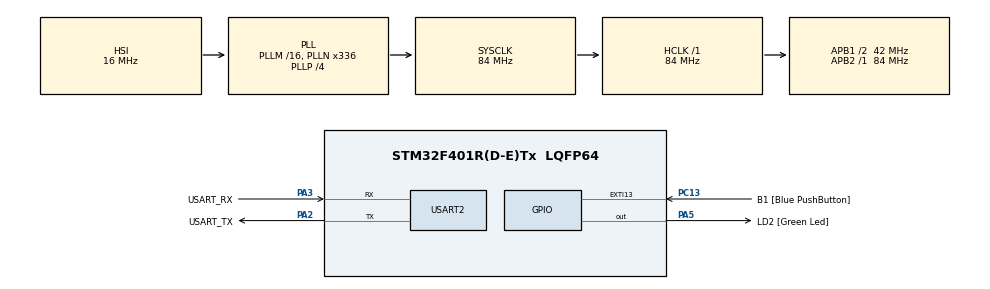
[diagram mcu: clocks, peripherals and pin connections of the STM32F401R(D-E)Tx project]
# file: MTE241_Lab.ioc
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Mcu.Family=STM32F4
Mcu.Name=STM32F401R(D-E)Tx
Mcu.Package=LQFP64
NVIC.PriorityGroup=NVIC_PRIORITYGROUP_0
PA13.GPIO_Label=TMS
PA13.Mode=Trace_Asynchronous_SW
PA13.Signal=SYS_JTMS-SWDIO
PA14.GPIO_Label=TCK
PA14.Mode=Trace_Asynchronous_SW
PA14.Signal=SYS_JTCK-SWCLK
PA2.GPIO_Label=USART_TX
PA2.GPIO_Mode=GPIO_MODE_AF_PP
PA2.GPIO_PuPd=GPIO_NOPULL
PA2.GPIO_Speed=GPIO_SPEED_FREQ_LOW
PA2.Mode=Asynchronous
PA2.Signal=USART2_TX
PA3.GPIO_Label=USART_RX
PA3.GPIO_Mode=GPIO_MODE_AF_PP
PA3.GPIO_PuPd=GPIO_NOPULL
PA3.GPIO_Speed=GPIO_SPEED_FREQ_LOW
PA3.Mode=Asynchronous
PA3.Signal=USART2_RX
PA5.GPIO_Label=LD2 [Green Led]
PA5.GPIO_Mode=GPIO_MODE_OUTPUT_PP
PA5.GPIO_PuPd=GPIO_NOPULL
PA5.GPIO_Speed=GPIO_SPEED_FREQ_LOW
PA5.Signal=GPIO_Output
PB3.GPIO_Label=SWO
PB3.Mode=Trace_Asynchronous_SW
PB3.Signal=SYS_JTDO-SWO
PC13-ANTI_TAMP.GPIO_Label=B1 [Blue PushButton]
PC13-ANTI_TAMP.GPIO_ModeDefaultEXTI=GPIO_MODE_IT_FALLING
PC13-ANTI_TAMP.GPIO_PuPd=GPIO_NOPULL
PC13-ANTI_TAMP.Signal=GPXTI13
PC14-OSC32_IN.Mode=LSE-External-Oscillator
PC14-OSC32_IN.Signal=RCC_OSC32_IN
PC15-OSC32_OUT.Mode=LSE-External-Oscillator
PC15-OSC32_OUT.Signal=RCC_OSC32_OUT
PH0\ -\ OSC_IN.Mode=HSE-External-Clock-Source
PH0\ -\ OSC_IN.Signal=RCC_OSC_IN
PH1\ -\ OSC_OUT.Mode=HSE-External-Clock-Source
PH1\ -\ OSC_OUT.Signal=RCC_OSC_OUT
ProjectManager.HeapSize=0x200
ProjectManager.StackSize=0x400
ProjectManager.TargetToolchain=STM32CubeIDE
RCC.48MHZClocksFreq_Value=48000000
RCC.AHBFreq_Value=84000000
RCC.APB1CLKDivider=RCC_HCLK_DIV2
RCC.APB1Freq_Value=42000000
RCC.APB1TimFreq_Value=84000000
RCC.APB2Freq_Value=84000000
RCC.APB2TimFreq_Value=84000000
RCC.CortexFreq_Value=84000000
RCC.HCLKFreq_Value=84000000
RCC.HSE_VALUE=8000000
RCC.HSI_VALUE=16000000
RCC.PLLN=336
RCC.PLLP=RCC_PLLP_DIV4
RCC.PLLQ=7
RCC.SYSCLKFreq_VALUE=84000000
RCC.SYSCLKSource=RCC_SYSCLKSOURCE_PLLCLK
RCC.VCOOutputFreq_Value=336000000
USART2.VirtualMode=VM_ASYNC
board=NUCLEO-F401RE

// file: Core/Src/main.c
/* USER CODE BEGIN Header */
/**
  ******************************************************************************
  * @file           : main.c
  * @brief          : Main program body
  ******************************************************************************
  * @attention
  *
  * Copyright (c) 2024 STMicroelectronics.
  * All rights reserved.
  *
  * This software is licensed under terms that can be found in the LICENSE file
  * in the root directory of this software component.
  * If no LICENSE file comes with this software, it is provided AS-IS.
  *
  ******************************************************************************
  */
/* USER CODE END Header */
#include "main.h"

/* USER CODE BEGIN Includes */
#include <stdio.h>
#include "kernel.h"
/* USER CODE END Includes */

/* USER CODE BEGIN PTD */
typedef struct {
  uint32_t num1;
  uint32_t num2;
} my_struct;
/* USER CODE END PTD */

UART_HandleTypeDef huart2;

void SystemClock_Config(void);
static void MX_GPIO_Init(void);
static void MX_USART2_UART_Init(void);

/* USER CODE BEGIN 0 */
void print1(void *args)
{
  while(true)
  {
    printf("Hello World!\r\n");
    osYield();
  }
}

void print2(void *args)
{
  my_struct data = *(my_struct*)args;
  while(true)
  {
    printf("num1 is %ld    num2 is %ld\r\n", data.num1, data.num2);
    HAL_Delay(500);
  }
}
/* USER CODE END 0 */

int main(void)
{

  /* USER CODE BEGIN 1 */
  my_struct args = {3, 4};
  /* USER CODE END 1 */

  /* MCU Configuration--------------------------------------------------------*/

  /* Reset of all peripherals, Initializes the Flash interface and the Systick. */
  HAL_Init();

  /* Configure the system clock */
  SystemClock_Config();

  /* Initialize all configured peripherals */
  MX_GPIO_Init();
  MX_USART2_UART_Init();
  /* USER CODE BEGIN 2 */
  osKernelInitialize();
  osCreateThread(print1, NULL);
  osCreateThreadWithDeadline(print2, &args, 1000);
  osKernelStart();
  /* USER CODE END 2 */

  /* Infinite loop */
  while (1)
  {

  }
}

void SystemClock_Config(void)
{
  RCC_OscInitTypeDef RCC_OscInitStruct = {0};
  RCC_ClkInitTypeDef RCC_ClkInitStruct = {0};

  /** Configure the main internal regulator output voltage
  */
  __HAL_RCC_PWR_CLK_ENABLE();
  __HAL_PWR_VOLTAGESCALING_CONFIG(PWR_REGULATOR_VOLTAGE_SCALE2);

  /** Initializes the RCC Oscillators according to the specified parameters
  * in the RCC_OscInitTypeDef structure.
  */
  RCC_OscInitStruct.OscillatorType = RCC_OSCILLATORTYPE_HSI;
  RCC_OscInitStruct.HSIState = RCC_HSI_ON;
  RCC_OscInitStruct.HSICalibrationValue = RCC_HSICALIBRATION_DEFAULT;
  RCC_OscInitStruct.PLL.PLLState = RCC_PLL_ON;
  RCC_OscInitStruct.PLL.PLLSource = RCC_PLLSOURCE_HSI;
  RCC_OscInitStruct.PLL.PLLM = 16;
  RCC_OscInitStruct.PLL.PLLN = 336;
  RCC_OscInitStruct.PLL.PLLP = RCC_PLLP_DIV4;
  RCC_OscInitStruct.PLL.PLLQ = 7;
  if (HAL_RCC_OscConfig(&RCC_OscInitStruct) != HAL_OK)
  {
    Error_Handler();
  }

  /** Initializes the CPU, AHB and APB buses clocks
  */
  RCC_ClkInitStruct.ClockType = RCC_CLOCKTYPE_HCLK|RCC_CLOCKTYPE_SYSCLK
                              |RCC_CLOCKTYPE_PCLK1|RCC_CLOCKTYPE_PCLK2;
  RCC_ClkInitStruct.SYSCLKSource = RCC_SYSCLKSOURCE_PLLCLK;
  RCC_ClkInitStruct.AHBCLKDivider = RCC_SYSCLK_DIV1;
  RCC_ClkInitStruct.APB1CLKDivider = RCC_HCLK_DIV2;
  RCC_ClkInitStruct.APB2CLKDivider = RCC_HCLK_DIV1;

  if (HAL_RCC_ClockConfig(&RCC_ClkInitStruct, FLASH_LATENCY_2) != HAL_OK)
  {
    Error_Handler();
  }
}

static void MX_USART2_UART_Init(void)
{

  huart2.Instance = USART2;
  huart2.Init.BaudRate = 115200;
  huart2.Init.WordLength = UART_WORDLENGTH_8B;
  huart2.Init.StopBits = UART_STOPBITS_1;
  huart2.Init.Parity = UART_PARITY_NONE;
  huart2.Init.Mode = UART_MODE_TX_RX;
  huart2.Init.HwFlowCtl = UART_HWCONTROL_NONE;
  huart2.Init.OverSampling = UART_OVERSAMPLING_16;
  if (HAL_UART_Init(&huart2) != HAL_OK)
  {
    Error_Handler();
  }

}

static void MX_GPIO_Init(void)
{
  GPIO_InitTypeDef GPIO_InitStruct = {0};

  /* GPIO Ports Clock Enable */
  __HAL_RCC_GPIOC_CLK_ENABLE();
  __HAL_RCC_GPIOH_CLK_ENABLE();
  __HAL_RCC_GPIOA_CLK_ENABLE();
  __HAL_RCC_GPIOB_CLK_ENABLE();

  /*Configure GPIO pin Output Level */
  HAL_GPIO_WritePin(LD2_GPIO_Port, LD2_Pin, GPIO_PIN_RESET);

  /*Configure GPIO pin : B1_Pin */
  GPIO_InitStruct.Pin = B1_Pin;
  GPIO_InitStruct.Mode = GPIO_MODE_IT_FALLING;
  GPIO_InitStruct.Pull = GPIO_NOPULL;
  HAL_GPIO_Init(B1_GPIO_Port, &GPIO_InitStruct);

  /*Configure GPIO pin : LD2_Pin */
  GPIO_InitStruct.Pin = LD2_Pin;
  GPIO_InitStruct.Mode = GPIO_MODE_OUTPUT_PP;
  GPIO_InitStruct.Pull = GPIO_NOPULL;
  GPIO_InitStruct.Speed = GPIO_SPEED_FREQ_LOW;
  HAL_GPIO_Init(LD2_GPIO_Port, &GPIO_InitStruct);

}

/* USER CODE BEGIN 4 */
int __io_putchar(int ch)
{
  return ITM_SendChar(ch);
}
/* USER CODE END 4 */

void Error_Handler(void)
{
  __disable_irq();
  while (1)
  {
  }
}
